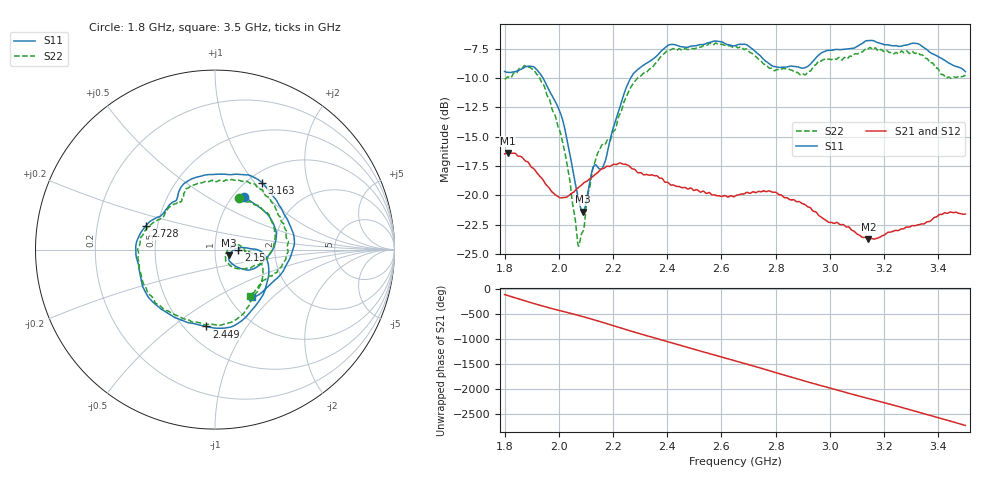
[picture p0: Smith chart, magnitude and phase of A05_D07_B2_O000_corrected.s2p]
! Created with skrf 1.9.0 (http://scikit-rf.org).
# Hz S RI R 50.0
!freq ReS11 ImS11 ReS21 ImS21 ReS12 ImS12 ReS22 ImS22
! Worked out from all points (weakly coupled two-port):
!   1601 points, 1.8 GHz to 3.5 GHz, reference 50 ohm
!   highest |S21| = -16.37 dB at 1.812 GHz (marker M1); lowest = -23.7 dB at 3.142 GHz (marker M2)
!   lowest |S11| = -21.4 dB at 2.089 GHz (marker M3), VSWR 1.19, Z = 58.5 - j3.71 ohm
!   |S11| at or under -10 dB: 1.942 GHz to 2.265 GHz (322.8 MHz wide, 15.3 % of centre)
!   |S22| runs from -24.3 to -7.0 dB; largest |S21 - S12| = 0.0029
!   S11 on the Smith chart (normalised r, x): 1.8 GHz: 1.12, +0.75; 2.15 GHz: 1.30, -0.00; 2.449 GHz: 0.63, -0.67; 2.728 GHz: 0.43, +0.13; 3.163 GHz: 1.16, +1.09; 3.5 GHz: 1.27, -0.76
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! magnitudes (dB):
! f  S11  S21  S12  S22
! 1.8 GHz  -9.4  -16.5  -16.5  -10.0
! 1.812 GHz  -9.5  -16.4  -16.4  -9.9
! 1.88 GHz  -9.0  -17.1  -17.1  -9.0
! 1.943 GHz  -10.1  -18.7  -18.7  -10.6
! 2.013 GHz  -13.4  -20.2  -20.2  -15.3
! 2.069 GHz  -19.9  -19.4  -19.4  -23.9
! 2.084 GHz  -21.3  -19.1  -19.1  -23.3
! 2.089 GHz  -21.4  -19.0  -19.0  -23.1
! 2.126 GHz  -17.6  -18.4  -18.4  -17.6
! 2.15 GHz  -17.7  -17.9  -17.9  -16.1
! 2.263 GHz  -10.1  -17.6  -17.6  -10.9
! 2.367 GHz  -8.0  -18.4  -18.4  -8.4
! 2.449 GHz  -7.3  -19.3  -19.3  -7.5
! 2.65 GHz  -7.2  -20.1  -20.1  -7.3
! 2.728 GHz  -7.8  -19.8  -19.8  -8.2
! 2.803 GHz  -9.0  -19.8  -19.8  -9.3
! 2.934 GHz  -8.7  -21.2  -21.2  -9.2
! 3.142 GHz  -6.8  -23.7  -23.6  -7.5
! 3.163 GHz  -6.8  -23.7  -23.7  -7.5
! 3.217 GHz  -7.2  -23.1  -23.1  -7.8
! 3.325 GHz  -7.1  -22.5  -22.5  -7.8
! 3.5 GHz  -9.4  -21.6  -21.6  -9.8
